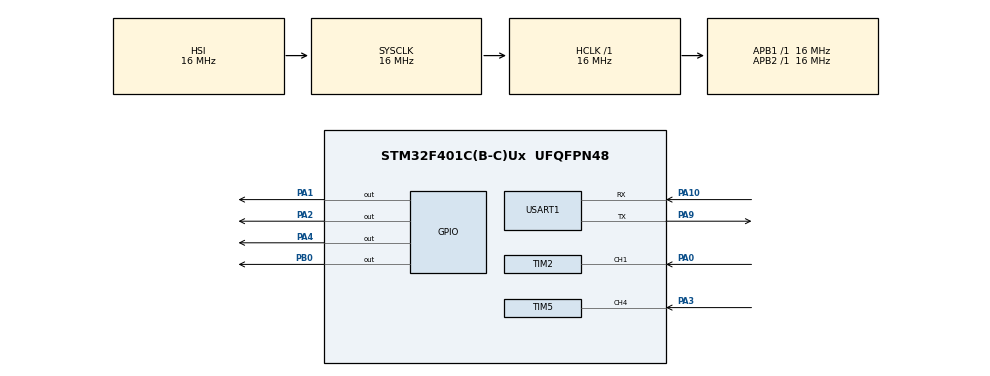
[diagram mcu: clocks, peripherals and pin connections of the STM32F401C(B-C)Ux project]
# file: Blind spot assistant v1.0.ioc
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Mcu.Family=STM32F4
Mcu.Name=STM32F401C(B-C)Ux
Mcu.Package=UFQFPN48
NVIC.PriorityGroup=NVIC_PRIORITYGROUP_4
NVIC.TIM2_IRQn=true\:0\:0\:false\:false\:true\:true\:true\:true
NVIC.TIM5_IRQn=true\:0\:0\:false\:false\:true\:true\:true\:true
PA0-WKUP.Signal=S_TIM2_CH1_ETR
PA1.Signal=GPIO_Output
PA10.Mode=Asynchronous
PA10.Signal=USART1_RX
PA2.Signal=GPIO_Output
PA3.Signal=S_TIM5_CH4
PA4.Signal=GPIO_Output
PA9.Mode=Asynchronous
PA9.Signal=USART1_TX
PB0.Signal=GPIO_Output
ProjectManager.HeapSize=0x200
ProjectManager.StackSize=0x400
ProjectManager.TargetToolchain=STM32CubeIDE
RCC.AHBFreq_Value=16000000
RCC.APB1Freq_Value=16000000
RCC.APB2Freq_Value=16000000
RCC.CortexFreq_Value=16000000
RCC.HSE_VALUE=25000000
RCC.HSI_VALUE=16000000
RCC.LSE_VALUE=32768
RCC.SYSCLKFreq_VALUE=16000000
RCC.VCOOutputFreq_Value=192000000
SH.S_TIM2_CH1_ETR.0=TIM2_CH1,Input_Capture1_from_TI1
SH.S_TIM5_CH4.0=TIM5_CH4,Input_Capture4_from_TI4
TIM2.Channel-Input_Capture1_from_TI1=TIM_CHANNEL_1
TIM2.ICPolarity_CH1=TIM_INPUTCHANNELPOLARITY_BOTHEDGE
TIM2.Period=65535
TIM2.Prescaler=15
TIM5.Channel-Input_Capture4_from_TI4=TIM_CHANNEL_4
TIM5.ICPolarity_CH4=TIM_INPUTCHANNELPOLARITY_BOTHEDGE
TIM5.Period=65535
TIM5.Prescaler=15
USART1.VirtualMode=VM_ASYNC
VP_TIM2_VS_ClockSourceINT.Mode=Internal
VP_TIM5_VS_ClockSourceINT.Mode=Internal
board=custom

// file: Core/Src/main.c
<<<<<<< HEAD
/* USER CODE BEGIN Header */
/**
 ******************************************************************************
 * @file           : main.c
 * @brief          : Main program body
 ******************************************************************************
 * @attention
 *
 * Copyright (c) 2023 STMicroelectronics.
 * All rights reserved.
 *
 * This software is licensed under terms that can be found in the LICENSE file
 * in the root directory of this software component.
 * If no LICENSE file comes with this software, it is provided AS-IS.
 *
 ******************************************************************************
 */
/* USER CODE END Header */
#include "main.h"

TIM_HandleTypeDef htim2;
TIM_HandleTypeDef htim5;

UART_HandleTypeDef huart1;

/* USER CODE BEGIN PV */
uint8_t tx_Buffer[1]={3};
/* USER CODE END PV */

void SystemClock_Config(void);
static void MX_GPIO_Init(void);
static void MX_TIM2_Init(void);
static void MX_TIM5_Init(void);
static void MX_USART1_UART_Init(void);

/* USER CODE BEGIN 0 */

volatile int flag_timer2=0,t1_timer2,t2_timer2,time_timer2;
int buffer[2]={0};
volatile int flag_timer5=0,t1_timer5,t2_timer5,time_timer5;

#define TRIG_PIN_U1      GPIO_PIN_1
#define TRIG_PIN_U2      GPIO_PIN_4
#define TRIG_PORT_U1     GPIOA
#define TRIG_PORT_U2     GPIOA
#define LED_PIN_U1       GPIO_PIN_2
#define LED_PIN_U2       GPIO_PIN_0
#define LED_PORT_U1      GPIOA
#define LED_PORT_U2      GPIOB

void HAL_TIM_IC_CaptureCallback(TIM_HandleTypeDef *htim)
{

	if (htim->Instance == TIM2)
	{
		// Check if the callback is triggered by the correct timer (TIMx)
		if (htim->Channel == HAL_TIM_ACTIVE_CHANNEL_1)
		{
			if (flag_timer2==0)
			{
				t1_timer2=HAL_TIM_ReadCapturedValue(htim, TIM_CHANNEL_1);

				flag_timer2++;
			}
			else if(flag_timer2==1)
			{
				t2_timer2=HAL_TIM_ReadCapturedValue(htim, TIM_CHANNEL_1);
				if(t2_timer2>t1_timer2)
				{
					time_timer2=t2_timer2-t1_timer2;
				}
				else if(t1_timer2>t2_timer2)
				{
					time_timer2 = ((0xffff-t1_timer2)+t2_timer2)+1;
				}
				buffer[0]=(((int)time_timer2*340*100)/((int)2*1000000))+1;
				flag_timer2=0;
				HAL_TIM_IC_Stop_IT(&htim2, TIM_CHANNEL_1); //disable timer 2
				HAL_TIM_IC_Start_IT(&htim5, TIM_CHANNEL_4); // enable timer5
			}

		}
	}

	if (htim->Instance == TIM5)
	{
		// Check if the callback is triggered by the correct timer (TIMx)
		if (htim->Channel == HAL_TIM_ACTIVE_CHANNEL_4)
		{
			if (flag_timer5==0)
			{
				t1_timer5=HAL_TIM_ReadCapturedValue(htim, TIM_CHANNEL_4);

				flag_timer5++;
			}
			else if(flag_timer5==1)
			{
				t2_timer5=HAL_TIM_ReadCapturedValue(htim, TIM_CHANNEL_4);
				if(t2_timer5>t1_timer5)
				{
					time_timer5=t2_timer5-t1_timer5;
				}
				else if(t1_timer5>t2_timer5)
				{
					time_timer5 = ((0xffff-t1_timer5)+t2_timer5)+1;
				}
				buffer[1]=(((int)time_timer5*340*100)/((int)2*1000000))+1;
				flag_timer5=0;
				HAL_TIM_IC_Stop_IT(&htim5, TIM_CHANNEL_4); //disable timer 2
				HAL_TIM_IC_Start_IT(&htim2, TIM_CHANNEL_1); // enable timer5
			}

		}
	}
}

/* USER CODE END 0 */

int main(void)
{

  /* MCU Configuration--------------------------------------------------------*/

  /* Reset of all peripherals, Initializes the Flash interface and the Systick. */
  HAL_Init();

  /* Configure the system clock */
  SystemClock_Config();

  /* Initialize all configured peripherals */
  MX_GPIO_Init();
  MX_TIM2_Init();
  MX_TIM5_Init();
  MX_USART1_UART_Init();
  /* USER CODE BEGIN 2 */
	__enable_irq(); // enable global interrupt
	HAL_TIM_IC_Start_IT(&htim2, TIM_CHANNEL_1); // enable timer2

  /* USER CODE END 2 */

  /* Infinite loop */
	while (1)
	{

    /* USER CODE BEGIN 3 */

		//enable trigger for ultrasonic1
		HAL_GPIO_WritePin(GPIOA, GPIO_PIN_1,GPIO_PIN_SET);
		for( int i=0;i<80;i++);
		HAL_GPIO_WritePin(GPIOA, GPIO_PIN_1,GPIO_PIN_RESET);
		for( int i=0;i<48000;i++);

		// if there is something near ultrasonic1 the led will be on
		if(buffer[0]<20)
		{

			HAL_GPIO_WritePin(GPIOA, GPIO_PIN_2,GPIO_PIN_SET);
		}
		else
		{
			HAL_GPIO_WritePin(GPIOA, GPIO_PIN_2,GPIO_PIN_RESET);

		}

		//enable trigger for ultrasonic2
		HAL_GPIO_WritePin(TRIG_PORT_U2, TRIG_PIN_U2,GPIO_PIN_SET);
		for( int i=0;i<80;i++); //delay
		HAL_GPIO_WritePin(TRIG_PORT_U2, TRIG_PIN_U2,GPIO_PIN_RESET);
		for( int i=0;i<48000;i++);  //delay

		// if there is something near ultrasonic2 the led will be on
		if(buffer[1]<20)
		{
			HAL_GPIO_WritePin(GPIOB, GPIO_PIN_0,GPIO_PIN_SET);

		}
		else
		{
			HAL_GPIO_WritePin(GPIOB, GPIO_PIN_0,GPIO_PIN_RESET);

		}

		HAL_UART_Transmit(&huart1, tx_Buffer, 2, 10);

	}
  /* USER CODE END 3 */
}

void SystemClock_Config(void)
{
  RCC_OscInitTypeDef RCC_OscInitStruct = {0};
  RCC_ClkInitTypeDef RCC_ClkInitStruct = {0};

  /** Configure the main internal regulator output voltage
  */
  __HAL_RCC_PWR_CLK_ENABLE();
  __HAL_PWR_VOLTAGESCALING_CONFIG(PWR_REGULATOR_VOLTAGE_SCALE2);

  /** Initializes the RCC Oscillators according to the specified parameters
  * in the RCC_OscInitTypeDef structure.
  */
  RCC_OscInitStruct.OscillatorType = RCC_OSCILLATORTYPE_HSI|RCC_OSCILLATORTYPE_LSI;
  RCC_OscInitStruct.HSIState = RCC_HSI_ON;
  RCC_OscInitStruct.HSICalibrationValue = RCC_HSICALIBRATION_DEFAULT;
  RCC_OscInitStruct.LSIState = RCC_LSI_ON;
  RCC_OscInitStruct.PLL.PLLState = RCC_PLL_NONE;
  if (HAL_RCC_OscConfig(&RCC_OscInitStruct) != HAL_OK)
  {
    Error_Handler();
  }

  /** Initializes the CPU, AHB and APB buses clocks
  */
  RCC_ClkInitStruct.ClockType = RCC_CLOCKTYPE_HCLK|RCC_CLOCKTYPE_SYSCLK
                              |RCC_CLOCKTYPE_PCLK1|RCC_CLOCKTYPE_PCLK2;
  RCC_ClkInitStruct.SYSCLKSource = RCC_SYSCLKSOURCE_HSI;
  RCC_ClkInitStruct.AHBCLKDivider = RCC_SYSCLK_DIV1;
  RCC_ClkInitStruct.APB1CLKDivider = RCC_HCLK_DIV1;
  RCC_ClkInitStruct.APB2CLKDivider = RCC_HCLK_DIV1;

  if (HAL_RCC_ClockConfig(&RCC_ClkInitStruct, FLASH_LATENCY_0) != HAL_OK)
  {
    Error_Handler();
  }
}

static void MX_TIM2_Init(void)
{

  TIM_ClockConfigTypeDef sClockSourceConfig = {0};
  TIM_MasterConfigTypeDef sMasterConfig = {0};
  TIM_IC_InitTypeDef sConfigIC = {0};

  htim2.Instance = TIM2;
  htim2.Init.Prescaler = 15;
  htim2.Init.CounterMode = TIM_COUNTERMODE_UP;
  htim2.Init.Period = 65535;
  htim2.Init.ClockDivision = TIM_CLOCKDIVISION_DIV1;
  htim2.Init.AutoReloadPreload = TIM_AUTORELOAD_PRELOAD_DISABLE;
  if (HAL_TIM_Base_Init(&htim2) != HAL_OK)
  {
    Error_Handler();
  }
  sClockSourceConfig.ClockSource = TIM_CLOCKSOURCE_INTERNAL;
  if (HAL_TIM_ConfigClockSource(&htim2, &sClockSourceConfig) != HAL_OK)
  {
    Error_Handler();
  }
  if (HAL_TIM_IC_Init(&htim2) != HAL_OK)
  {
    Error_Handler();
  }
  sMasterConfig.MasterOutputTrigger = TIM_TRGO_RESET;
  sMasterConfig.MasterSlaveMode = TIM_MASTERSLAVEMODE_DISABLE;
  if (HAL_TIMEx_MasterConfigSynchronization(&htim2, &sMasterConfig) != HAL_OK)
  {
    Error_Handler();
  }
  sConfigIC.ICPolarity = TIM_INPUTCHANNELPOLARITY_BOTHEDGE;
  sConfigIC.ICSelection = TIM_ICSELECTION_DIRECTTI;
  sConfigIC.ICPrescaler = TIM_ICPSC_DIV1;
  sConfigIC.ICFilter = 0;
  if (HAL_TIM_IC_ConfigChannel(&htim2, &sConfigIC, TIM_CHANNEL_1) != HAL_OK)
  {
    Error_Handler();
  }

}

static void MX_TIM5_Init(void)
{

  TIM_ClockConfigTypeDef sClockSourceConfig = {0};
  TIM_MasterConfigTypeDef sMasterConfig = {0};
  TIM_IC_InitTypeDef sConfigIC = {0};

  htim5.Instance = TIM5;
  htim5.Init.Prescaler = 15;
  htim5.Init.CounterMode = TIM_COUNTERMODE_UP;
  htim5.Init.Period = 65535;
  htim5.Init.ClockDivision = TIM_CLOCKDIVISION_DIV1;
  htim5.Init.AutoReloadPreload = TIM_AUTORELOAD_PRELOAD_DISABLE;
  if (HAL_TIM_Base_Init(&htim5) != HAL_OK)
  {
    Error_Handler();
  }
  sClockSourceConfig.ClockSource = TIM_CLOCKSOURCE_INTERNAL;
  if (HAL_TIM_ConfigClockSource(&htim5, &sClockSourceConfig) != HAL_OK)
  {
    Error_Handler();
  }
  if (HAL_TIM_IC_Init(&htim5) != HAL_OK)
  {
    Error_Handler();
  }
  sMasterConfig.MasterOutputTrigger = TIM_TRGO_RESET;
  sMasterConfig.MasterSlaveMode = TIM_MASTERSLAVEMODE_DISABLE;
  if (HAL_TIMEx_MasterConfigSynchronization(&htim5, &sMasterConfig) != HAL_OK)
  {
    Error_Handler();
  }
  sConfigIC.ICPolarity = TIM_INPUTCHANNELPOLARITY_BOTHEDGE;
  sConfigIC.ICSelection = TIM_ICSELECTION_DIRECTTI;
  sConfigIC.ICPrescaler = TIM_ICPSC_DIV1;
  sConfigIC.ICFilter = 0;
  if (HAL_TIM_IC_ConfigChannel(&htim5, &sConfigIC, TIM_CHANNEL_4) != HAL_OK)
  {
    Error_Handler();
  }

}

static void MX_USART1_UART_Init(void)
{

  huart1.Instance = USART1;
  huart1.Init.BaudRate = 115200;
  huart1.Init.WordLength = UART_WORDLENGTH_8B;
  huart1.Init.StopBits = UART_STOPBITS_1;
  huart1.Init.Parity = UART_PARITY_NONE;
  huart1.Init.Mode = UART_MODE_TX_RX;
  huart1.Init.HwFlowCtl = UART_HWCONTROL_NONE;
  huart1.Init.OverSampling = UART_OVERSAMPLING_16;
  if (HAL_UART_Init(&huart1) != HAL_OK)
  {
    Error_Handler();
  }

}

static void MX_GPIO_Init(void)
{
  GPIO_InitTypeDef GPIO_InitStruct = {0};

  /* GPIO Ports Clock Enable */
  __HAL_RCC_GPIOA_CLK_ENABLE();
  __HAL_RCC_GPIOB_CLK_ENABLE();

  /*Configure GPIO pin Output Level */
  HAL_GPIO_WritePin(GPIOA, GPIO_PIN_1|GPIO_PIN_2|GPIO_PIN_4, GPIO_PIN_RESET);

  /*Configure GPIO pin Output Level */
  HAL_GPIO_WritePin(GPIOB, GPIO_PIN_0, GPIO_PIN_RESET);

  /*Configure GPIO pins : PA1 PA2 PA4 */
  GPIO_InitStruct.Pin = GPIO_PIN_1|GPIO_PIN_2|GPIO_PIN_4;
  GPIO_InitStruct.Mode = GPIO_MODE_OUTPUT_PP;
  GPIO_InitStruct.Pull = GPIO_NOPULL;
  GPIO_InitStruct.Speed = GPIO_SPEED_FREQ_LOW;
  HAL_GPIO_Init(GPIOA, &GPIO_InitStruct);

  /*Configure GPIO pin : PB0 */
  GPIO_InitStruct.Pin = GPIO_PIN_0;
  GPIO_InitStruct.Mode = GPIO_MODE_OUTPUT_PP;
  GPIO_InitStruct.Pull = GPIO_NOPULL;
  GPIO_InitStruct.Speed = GPIO_SPEED_FREQ_LOW;
  HAL_GPIO_Init(GPIOB, &GPIO_InitStruct);

}

void Error_Handler(void)
{
	__disable_irq();
	while (1)
	{
	}
}

=======
/* USER CODE BEGIN Header */
/**
 ******************************************************************************
 * @file           : main.c
 * @brief          : Main program body
 ******************************************************************************
 * @attention
 *
 * Copyright (c) 2023 STMicroelectronics.
 * All rights reserved.
 *
 * This software is licensed under terms that can be found in the LICENSE file
 * in the root directory of this software component.
 * If no LICENSE file comes with this software, it is provided AS-IS.
 *
 ******************************************************************************
 */
/* USER CODE END Header */
#include "main.h"

TIM_HandleTypeDef htim2;
TIM_HandleTypeDef htim5;

UART_HandleTypeDef huart1;

/* USER CODE BEGIN PV */
uint8_t tx_Buffer[1]={'A'};
/* USER CODE END PV */

void SystemClock_Config(void);
static void MX_GPIO_Init(void);
static void MX_TIM2_Init(void);
static void MX_TIM5_Init(void);
static void MX_USART1_UART_Init(void);

/* USER CODE BEGIN 0 */

volatile int flag_timer2=0,t1_timer2,t2_timer2,time_timer2;
int buffer[2]={0};
volatile int flag_timer5=0,t1_timer5,t2_timer5,time_timer5;

#define TRIG_PIN_U1      GPIO_PIN_1
#define TRIG_PIN_U2      GPIO_PIN_4
#define TRIG_PORT_U1     GPIOA
#define TRIG_PORT_U2     GPIOA
#define LED_PIN_U1       GPIO_PIN_2
#define LED_PIN_U2       GPIO_PIN_0
#define LED_PORT_U1      GPIOA
#define LED_PORT_U2      GPIOB

void HAL_TIM_IC_CaptureCallback(TIM_HandleTypeDef *htim)
{

	if (htim->Instance == TIM2)
	{
		// Check if the callback is triggered by the correct timer (TIMx)
		if (htim->Channel == HAL_TIM_ACTIVE_CHANNEL_1)
		{
			if (flag_timer2==0)
			{
				t1_timer2=HAL_TIM_ReadCapturedValue(htim, TIM_CHANNEL_1);

				flag_timer2++;
			}
			else if(flag_timer2==1)
			{
				t2_timer2=HAL_TIM_ReadCapturedValue(htim, TIM_CHANNEL_1);
				if(t2_timer2>t1_timer2)
				{
					time_timer2=t2_timer2-t1_timer2;
				}
				else if(t1_timer2>t2_timer2)
				{
					time_timer2 = ((0xffff-t1_timer2)+t2_timer2)+1;
				}
				buffer[0]=(((int)time_timer2*340*100)/((int)2*1000000))+1;
				flag_timer2=0;
				HAL_TIM_IC_Stop_IT(&htim2, TIM_CHANNEL_1); //disable timer 2
				HAL_TIM_IC_Start_IT(&htim5, TIM_CHANNEL_4); // enable timer5
			}

		}
	}

	if (htim->Instance == TIM5)
	{
		// Check if the callback is triggered by the correct timer (TIMx)
		if (htim->Channel == HAL_TIM_ACTIVE_CHANNEL_4)
		{
			if (flag_timer5==0)
			{
				t1_timer5=HAL_TIM_ReadCapturedValue(htim, TIM_CHANNEL_4);

				flag_timer5++;
			}
			else if(flag_timer5==1)
			{
				t2_timer5=HAL_TIM_ReadCapturedValue(htim, TIM_CHANNEL_4);
				if(t2_timer5>t1_timer5)
				{
					time_timer5=t2_timer5-t1_timer5;
				}
				else if(t1_timer5>t2_timer5)
				{
					time_timer5 = ((0xffff-t1_timer5)+t2_timer5)+1;
				}
				buffer[1]=(((int)time_timer5*340*100)/((int)2*1000000))+1;
				flag_timer5=0;
				HAL_TIM_IC_Stop_IT(&htim5, TIM_CHANNEL_4); //disable timer 2
				HAL_TIM_IC_Start_IT(&htim2, TIM_CHANNEL_1); // enable timer5
			}

		}
	}
}

/* USER CODE END 0 */

int main(void)
{

  /* MCU Configuration--------------------------------------------------------*/

  /* Reset of all peripherals, Initializes the Flash interface and the Systick. */
  HAL_Init();

  /* Configure the system clock */
  SystemClock_Config();

  /* Initialize all configured peripherals */
  MX_GPIO_Init();
  MX_TIM2_Init();
  MX_TIM5_Init();
  MX_USART1_UART_Init();
  /* USER CODE BEGIN 2 */
	__enable_irq(); // enable global interrupt
	HAL_TIM_IC_Start_IT(&htim2, TIM_CHANNEL_1); // enable timer2

  /* USER CODE END 2 */

  /* Infinite loop */
	while (1)
	{

    /* USER CODE BEGIN 3 */

		//enable trigger for ultrasonic1
		HAL_GPIO_WritePin(GPIOA, GPIO_PIN_1,GPIO_PIN_SET);
		for( int i=0;i<80;i++);
		HAL_GPIO_WritePin(GPIOA, GPIO_PIN_1,GPIO_PIN_RESET);
		for( int i=0;i<48000;i++);

		// if there is something near ultrasonic1 the led will be on
		if(buffer[0]<20)
		{
			tx_Buffer[0]='A';
			HAL_GPIO_WritePin(GPIOA, GPIO_PIN_2,GPIO_PIN_SET);
		}
		else
		{
			HAL_GPIO_WritePin(GPIOA, GPIO_PIN_2,GPIO_PIN_RESET);
			tx_Buffer[0]='B';
		}

		//enable trigger for ultrasonic2
		HAL_GPIO_WritePin(TRIG_PORT_U2, TRIG_PIN_U2,GPIO_PIN_SET);
		for( int i=0;i<80;i++); //delay
		HAL_GPIO_WritePin(TRIG_PORT_U2, TRIG_PIN_U2,GPIO_PIN_RESET);
		for( int i=0;i<48000;i++);  //delay

		// if there is something near ultrasonic2 the led will be on
		if(buffer[1]<20)
		{
			HAL_GPIO_WritePin(GPIOB, GPIO_PIN_0,GPIO_PIN_SET);
			tx_Buffer[0]='C';
		}
		else
		{
			HAL_GPIO_WritePin(GPIOB, GPIO_PIN_0,GPIO_PIN_RESET);
			tx_Buffer[0]='D';
		}
		HAL_UART_Transmit(&huart1, tx_Buffer, 2, 10);

	}
  /* USER CODE END 3 */
}

void SystemClock_Config(void)
{
  RCC_OscInitTypeDef RCC_OscInitStruct = {0};
  RCC_ClkInitTypeDef RCC_ClkInitStruct = {0};

  /** Configure the main internal regulator output voltage
  */
  __HAL_RCC_PWR_CLK_ENABLE();
  __HAL_PWR_VOLTAGESCALING_CONFIG(PWR_REGULATOR_VOLTAGE_SCALE2);

  /** Initializes the RCC Oscillators according to the specified parameters
  * in the RCC_OscInitTypeDef structure.
  */
  RCC_OscInitStruct.OscillatorType = RCC_OSCILLATORTYPE_HSI|RCC_OSCILLATORTYPE_LSI;
  RCC_OscInitStruct.HSIState = RCC_HSI_ON;
  RCC_OscInitStruct.HSICalibrationValue = RCC_HSICALIBRATION_DEFAULT;
  RCC_OscInitStruct.LSIState = RCC_LSI_ON;
  RCC_OscInitStruct.PLL.PLLState = RCC_PLL_NONE;
  if (HAL_RCC_OscConfig(&RCC_OscInitStruct) != HAL_OK)
  {
    Error_Handler();
  }

  /** Initializes the CPU, AHB and APB buses clocks
  */
  RCC_ClkInitStruct.ClockType = RCC_CLOCKTYPE_HCLK|RCC_CLOCKTYPE_SYSCLK
                              |RCC_CLOCKTYPE_PCLK1|RCC_CLOCKTYPE_PCLK2;
  RCC_ClkInitStruct.SYSCLKSource = RCC_SYSCLKSOURCE_HSI;
  RCC_ClkInitStruct.AHBCLKDivider = RCC_SYSCLK_DIV1;
  RCC_ClkInitStruct.APB1CLKDivider = RCC_HCLK_DIV1;
  RCC_ClkInitStruct.APB2CLKDivider = RCC_HCLK_DIV1;

  if (HAL_RCC_ClockConfig(&RCC_ClkInitStruct, FLASH_LATENCY_0) != HAL_OK)
  {
    Error_Handler();
  }
}

static void MX_TIM2_Init(void)
{

  TIM_ClockConfigTypeDef sClockSourceConfig = {0};
  TIM_MasterConfigTypeDef sMasterConfig = {0};
  TIM_IC_InitTypeDef sConfigIC = {0};

  htim2.Instance = TIM2;
  htim2.Init.Prescaler = 15;
  htim2.Init.CounterMode = TIM_COUNTERMODE_UP;
  htim2.Init.Period = 65535;
  htim2.Init.ClockDivision = TIM_CLOCKDIVISION_DIV1;
  htim2.Init.AutoReloadPreload = TIM_AUTORELOAD_PRELOAD_DISABLE;
  if (HAL_TIM_Base_Init(&htim2) != HAL_OK)
  {
    Error_Handler();
  }
  sClockSourceConfig.ClockSource = TIM_CLOCKSOURCE_INTERNAL;
  if (HAL_TIM_ConfigClockSource(&htim2, &sClockSourceConfig) != HAL_OK)
  {
    Error_Handler();
  }
  if (HAL_TIM_IC_Init(&htim2) != HAL_OK)
  {
    Error_Handler();
  }
  sMasterConfig.MasterOutputTrigger = TIM_TRGO_RESET;
  sMasterConfig.MasterSlaveMode = TIM_MASTERSLAVEMODE_DISABLE;
  if (HAL_TIMEx_MasterConfigSynchronization(&htim2, &sMasterConfig) != HAL_OK)
  {
    Error_Handler();
  }
  sConfigIC.ICPolarity = TIM_INPUTCHANNELPOLARITY_BOTHEDGE;
  sConfigIC.ICSelection = TIM_ICSELECTION_DIRECTTI;
  sConfigIC.ICPrescaler = TIM_ICPSC_DIV1;
  sConfigIC.ICFilter = 0;
  if (HAL_TIM_IC_ConfigChannel(&htim2, &sConfigIC, TIM_CHANNEL_1) != HAL_OK)
  {
    Error_Handler();
  }

}

static void MX_TIM5_Init(void)
{

  TIM_ClockConfigTypeDef sClockSourceConfig = {0};
  TIM_MasterConfigTypeDef sMasterConfig = {0};
  TIM_IC_InitTypeDef sConfigIC = {0};

  htim5.Instance = TIM5;
  htim5.Init.Prescaler = 15;
  htim5.Init.CounterMode = TIM_COUNTERMODE_UP;
  htim5.Init.Period = 65535;
  htim5.Init.ClockDivision = TIM_CLOCKDIVISION_DIV1;
  htim5.Init.AutoReloadPreload = TIM_AUTORELOAD_PRELOAD_DISABLE;
  if (HAL_TIM_Base_Init(&htim5) != HAL_OK)
  {
    Error_Handler();
  }
  sClockSourceConfig.ClockSource = TIM_CLOCKSOURCE_INTERNAL;
  if (HAL_TIM_ConfigClockSource(&htim5, &sClockSourceConfig) != HAL_OK)
  {
    Error_Handler();
  }
  if (HAL_TIM_IC_Init(&htim5) != HAL_OK)
  {
    Error_Handler();
  }
  sMasterConfig.MasterOutputTrigger = TIM_TRGO_RESET;
  sMasterConfig.MasterSlaveMode = TIM_MASTERSLAVEMODE_DISABLE;
  if (HAL_TIMEx_MasterConfigSynchronization(&htim5, &sMasterConfig) != HAL_OK)
  {
    Error_Handler();
  }
  sConfigIC.ICPolarity = TIM_INPUTCHANNELPOLARITY_BOTHEDGE;
  sConfigIC.ICSelection = TIM_ICSELECTION_DIRECTTI;
  sConfigIC.ICPrescaler = TIM_ICPSC_DIV1;
  sConfigIC.ICFilter = 0;
  if (HAL_TIM_IC_ConfigChannel(&htim5, &sConfigIC, TIM_CHANNEL_4) != HAL_OK)
  {
    Error_Handler();
  }

}

static void MX_USART1_UART_Init(void)
{

  huart1.Instance = USART1;
  huart1.Init.BaudRate = 115200;
  huart1.Init.WordLength = UART_WORDLENGTH_8B;
  huart1.Init.StopBits = UART_STOPBITS_1;
  huart1.Init.Parity = UART_PARITY_NONE;
  huart1.Init.Mode = UART_MODE_TX_RX;
  huart1.Init.HwFlowCtl = UART_HWCONTROL_NONE;
  huart1.Init.OverSampling = UART_OVERSAMPLING_16;
  if (HAL_UART_Init(&huart1) != HAL_OK)
  {
    Error_Handler();
  }

}

static void MX_GPIO_Init(void)
{
  GPIO_InitTypeDef GPIO_InitStruct = {0};

  /* GPIO Ports Clock Enable */
  __HAL_RCC_GPIOA_CLK_ENABLE();
  __HAL_RCC_GPIOB_CLK_ENABLE();

  /*Configure GPIO pin Output Level */
  HAL_GPIO_WritePin(GPIOA, GPIO_PIN_1|GPIO_PIN_2|GPIO_PIN_4, GPIO_PIN_RESET);

  /*Configure GPIO pin Output Level */
  HAL_GPIO_WritePin(GPIOB, GPIO_PIN_0, GPIO_PIN_RESET);

  /*Configure GPIO pins : PA1 PA2 PA4 */
  GPIO_InitStruct.Pin = GPIO_PIN_1|GPIO_PIN_2|GPIO_PIN_4;
  GPIO_InitStruct.Mode = GPIO_MODE_OUTPUT_PP;
  GPIO_InitStruct.Pull = GPIO_NOPULL;
  GPIO_InitStruct.Speed = GPIO_SPEED_FREQ_LOW;
  HAL_GPIO_Init(GPIOA, &GPIO_InitStruct);

  /*Configure GPIO pin : PB0 */
  GPIO_InitStruct.Pin = GPIO_PIN_0;
  GPIO_InitStruct.Mode = GPIO_MODE_OUTPUT_PP;
  GPIO_InitStruct.Pull = GPIO_NOPULL;
  GPIO_InitStruct.Speed = GPIO_SPEED_FREQ_LOW;
  HAL_GPIO_Init(GPIOB, &GPIO_InitStruct);

}

void Error_Handler(void)
{
	__disable_irq();
	while (1)
	{
	}
}

>>>>>>> GPS
